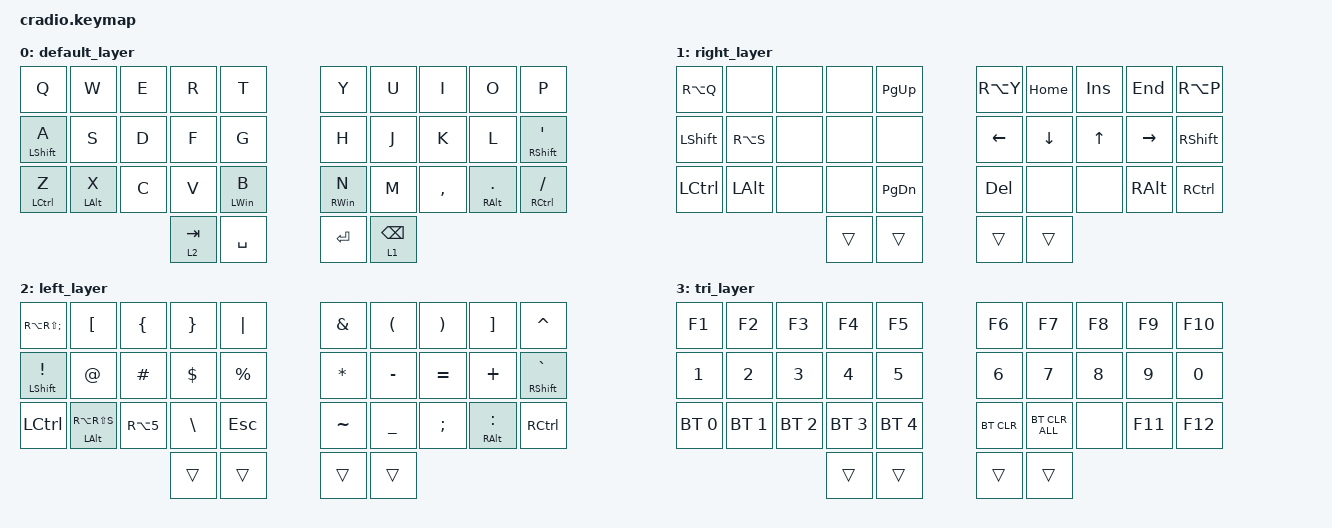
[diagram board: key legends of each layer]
// Copyright (c) 2022 The ZMK Contributors
// SPDX-License-Identifier: MIT

#include <behaviors.dtsi>
#include <dt-bindings/zmk/bt.h>
#include <dt-bindings/zmk/keys.h>

/ {
    behaviors {
        ht: hold_tap {
            compatible = "zmk,behavior-hold-tap";
            #binding-cells = <2>;
            flavor = "balanced";
            tapping-term-ms = <200>;
            quick-tap-ms = <150>;
            require-prior-idle-ms = <100>;
            bindings = <&kp>, <&kp>;
        };

        lt: layer_tap {
            compatible = "zmk,behavior-hold-tap";
            #binding-cells = <2>;
            flavor = "tap-preferred";
            tapping-term-ms = <200>;
            quick-tap-ms = <150>;
            require-prior-idle-ms = <100>;
            bindings = <&mo>, <&kp>;
        };
    };

    conditional_layers {
        compatible = "zmk,conditional-layers";

        tri_layer {
            if-layers = <1 2>;
            then-layer = <3>;
        };
    };

    keymap {
        compatible = "zmk,keymap";

        default_layer {
            bindings = <
  &kp Q        &kp W           &kp E  &kp R      &kp T             &kp Y            &kp U       &kp I      &kp O              &kp P
  &ht LSHFT A  &kp S           &kp D  &kp F      &kp G             &kp H            &kp J       &kp K      &kp L              &ht RSHFT SQT
  &ht LCTRL Z  &ht LEFT_ALT X  &kp C  &kp V      &ht LEFT_WIN B    &ht RIGHT_WIN N  &kp M       &kp COMMA  &ht RIGHT_ALT DOT  &ht RCTRL FSLH
                                      &lt 2 TAB  &kp SPACE         &kp ENTER        &lt 1 BSPC
            >;
        };

        right_layer {
            bindings = <
  &kp RA(Q)   &none      &none  &none   &kp PAGE_UP      &kp RA(Y)  &kp HOME  &kp INSERT  &kp END          &kp RA(P)
  &kp LSHIFT  &kp RA(S)  &none  &none   &none            &kp LEFT   &kp DOWN  &kp UP      &kp RIGHT_ARROW  &kp RSHIFT
  &kp LCTRL   &kp LALT   &none  &none   &kp PAGE_DOWN    &kp DEL    &none     &none       &kp RALT         &kp RCTRL
                                &trans  &trans           &trans     &trans
            >;
        };

        left_layer {
            bindings = <
  &kp RA(RS(SEMI))  &kp LBKT            &kp LBRC    &kp RBRC       &kp PIPE      &kp AMPERSAND  &kp LPAR   &kp RPAR   &kp RBKT        &kp CARET
  &ht LSHFT EXCL    &kp AT              &kp HASH    &kp DLLR       &kp PRCNT     &kp ASTRK      &kp MINUS  &kp EQUAL  &kp PLUS        &ht RSHIFT GRAVE
  &kp LCTRL         &ht LALT RA(RS(S))  &kp RA(N5)  &kp BACKSLASH  &kp ESCAPE    &kp TILDE      &kp UNDER  &kp SEMI   &ht RALT COLON  &kp RCTRL
                                                    &trans         &trans        &trans         &trans
            >;
        };

        tri_layer {
            bindings = <
  &kp F1        &kp F2        &kp F3        &kp F4        &kp F5          &kp F6      &kp F7          &kp F8  &kp F9   &kp F10
  &kp N1        &kp N2        &kp N3        &kp N4        &kp N5          &kp N6      &kp N7          &kp N8  &kp N9   &kp N0
  &bt BT_SEL 0  &bt BT_SEL 1  &bt BT_SEL 2  &bt BT_SEL 3  &bt BT_SEL 4    &bt BT_CLR  &bt BT_CLR_ALL  &none   &kp F11  &kp F12
                                            &trans        &trans          &trans      &trans
            >;
        };
    };
};
